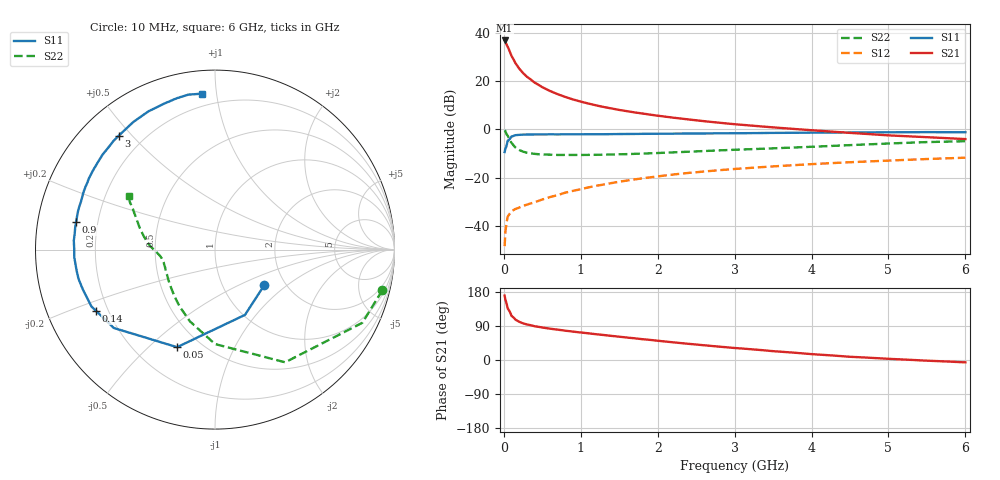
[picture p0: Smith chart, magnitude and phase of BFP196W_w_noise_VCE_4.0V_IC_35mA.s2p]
! Infineon Technologies  Discrete & RF Semiconductors
! BFP196W
! VCE =  4.0 V,  IC =  35 mA
! Common Emitter S-Parameters:  Jan 2017
# GHz  S  MA  R  50
!  f  S11  S21  S12  S22
! GHz  MAG  ANG  MAG  ANG  MAG  ANG  MAG  ANG
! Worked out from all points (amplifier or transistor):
!   77 points, 10 MHz to 6 GHz, reference 50 ohm
!   highest |S21| = 36.8 dB at 10 MHz (marker M1)
!   |S21| within 3 dB of that: start of sweep to 55.59 MHz
!   unconditionally stable (mu >= 1): 786.9 MHz to 3.311 GHz
!   at 130 MHz: K = 0.35, MSG = 31.0 dB, |S12| = -33.4 dB
!   at 2.2 GHz: K = 1.04, MAG = 10.5 dB, |S12| = -18.7 dB
!   at 6 GHz: K = 0.94, MSG = 3.9 dB, |S12| = -11.7 dB
!   lowest NFmin = 1.19 dB at 450 MHz
!   S11 on the Smith chart (normalised r, x): 10 MHz: 1.57, -0.70; 50 MHz: 0.37, -0.62; 140 MHz: 0.15, -0.24; 900 MHz: 0.12, +0.10; 3 GHz: 0.11, +0.46; 6 GHz: 0.13, +0.91
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0.01  0.3386 -35.8  69.42 169.9  0.0038 81.4  0.9593 -13.7
0.02  0.4001 -65.3  65.84 159.3  0.0075 74.1  0.9167 -26.4
0.05  0.5831 -111.2  51.41 136.1  0.0156 53.0  0.7395 -58.1
0.1  0.7129 -142.2  33.17 116.2  0.0201 41.1  0.526 -90.0
0.14  0.7457 -152.8  25.47 109.2  0.0219 38.8  0.4393 -104.8
0.15  0.7577 -155.3  23.64 106.7  0.0224 38.3  0.4233 -109.3
0.2  0.7683 -162.8  18.12 100.8  0.0239 38.2  0.3737 -121.7
0.25  0.7778 -167.9  14.66 96.7  0.026 40.2  0.3448 -130.9
0.3  0.7799 -171.5  12.28 93.8  0.0275 42.7  0.3273 -137.5
0.4  0.7852 -176.9  9.311 89.1  0.0309 46.6  0.3103 -146.7
0.5  0.7847 179.4  7.459 85.7  0.0352 50.1  0.3016 -152.6
0.6  0.7883 176.3  6.24 82.6  0.0395 52.6  0.2989 -156.9
0.7  0.7866 173.6  5.346 80.1  0.0435 55.1  0.2951 -160.1
0.9  0.789 168.7  4.156 74.9  0.0532 57.3  0.295 -164.2
1.1  0.7927 164.3  3.423 70.4  0.0627 58.9  0.2959 -167.2
1.5  0.7995 156.5  2.526 61.5  0.0821 58.8  0.3043 -172.1
2.1  0.8119 145.0  1.831 48.8  0.1109 56.0  0.3282 -177.9
3  0.831 130.1  1.278 31.7  0.1509 49.1  0.3775 174.2
3.1  0.8325 128.6  1.24 30.2  0.1548 48.3  0.3826 173.2
4.1  0.8555 114.3  0.935 14.2  0.1937 40.4  0.4422 162.9
5.1  0.8704 103.4  0.737 2.2  0.2287 32.5  0.5156 153.2
6  0.8719 94.9  0.629 -6.2  0.2587 25.6  0.5673 148.0
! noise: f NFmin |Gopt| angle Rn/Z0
0.45  1.19  0.46  180  0.06
0.9  1.33  0.53  -174  0.06
1.9  2.17  0.68  -151  0.13
2.4  2.57  0.73  -145  0.23
